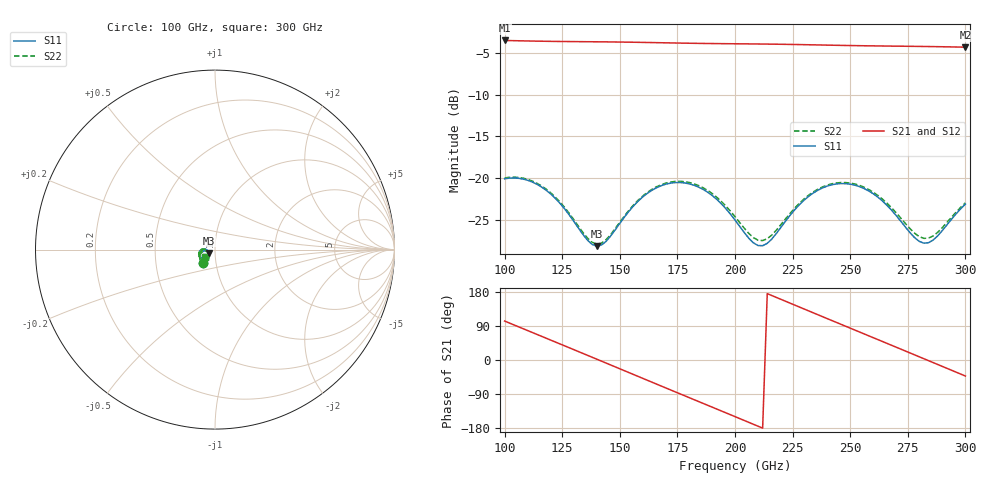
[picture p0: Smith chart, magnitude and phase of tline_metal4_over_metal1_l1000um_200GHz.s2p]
#  GHZ S DB R 50
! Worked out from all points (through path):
!   101 points, 100 GHz to 300 GHz, reference 50 ohm
!   highest |S21| = -3.49 dB at 100 GHz (marker M1); lowest = -4.3 dB at 300 GHz (marker M2)
!   group delay of S21, straight-line fit = 7.02 ps
!   lowest |S11| = -28.2 dB at 140 GHz (marker M3), VSWR 1.08, Z = 46.7 - j1.81 ohm
!   |S11| at or under -10 dB: start of sweep to end of sweep
!   |S22| runs from -27.9 to -19.9 dB; largest |S21 - S12| = 7.7e-14
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100  -20.07 -133.3  -3.49 102.8  -3.49 102.8  -19.98 -132.5
108  -20.10 -147.7  -3.54 82.7  -3.54 82.7  -20.00 -146.9
116  -21.05 -161.0  -3.58 62.6  -3.58 62.6  -20.92 -160.1
126  -23.66 -171.9  -3.62 37.5  -3.62 37.5  -23.49 -170.8
134  -26.75 -167.6  -3.64 17.3  -3.64 17.3  -26.51 -166.7
140  -28.15 -150.3  -3.65 2.2  -3.65 2.2  -27.90 -150.0
152  -24.66 -126.7  -3.69 -28.2  -3.69 -28.2  -24.54 -126.4
168  -20.90 -142.4  -3.76 -68.8  -3.76 -68.8  -20.78 -141.4
176  -20.52 -154.9  -3.80 -88.9  -3.80 -88.9  -20.38 -153.7
184  -21.04 -167.2  -3.84 -109.1  -3.84 -109.1  -20.86 -165.7
200  -25.02 179.6  -3.89 -149.4  -3.89 -149.4  -24.61 -178.5
208  -27.76 -167.7  -3.91 -169.6  -3.91 -169.6  -27.13 -166.9
212  -28.10 -154.6  -3.92 -179.8  -3.92 -179.8  -27.48 -155.1
222  -25.13 -134.7  -3.95 154.9  -3.95 154.9  -24.86 -136.3
234  -21.78 -141.8  -4.01 124.5  -4.01 124.5  -21.64 -142.3
242  -20.79 -152.6  -4.06 104.3  -4.06 104.3  -20.68 -152.7
250  -20.72 -164.5  -4.10 84.1  -4.10 84.1  -20.58 -164.1
258  -21.52 -175.4  -4.13 63.9  -4.13 63.9  -21.35 -174.7
268  -23.85 176.2  -4.17 38.7  -4.17 38.7  -23.56 177.4
282  -27.79 -163.6  -4.21 3.3  -4.21 3.3  -27.22 -164.2
290  -26.28 -143.4  -4.24 -16.9  -4.24 -16.9  -25.92 -145.5
300  -23.11 -141.2  -4.29 -42.3  -4.29 -42.3  -22.96 -142.8
